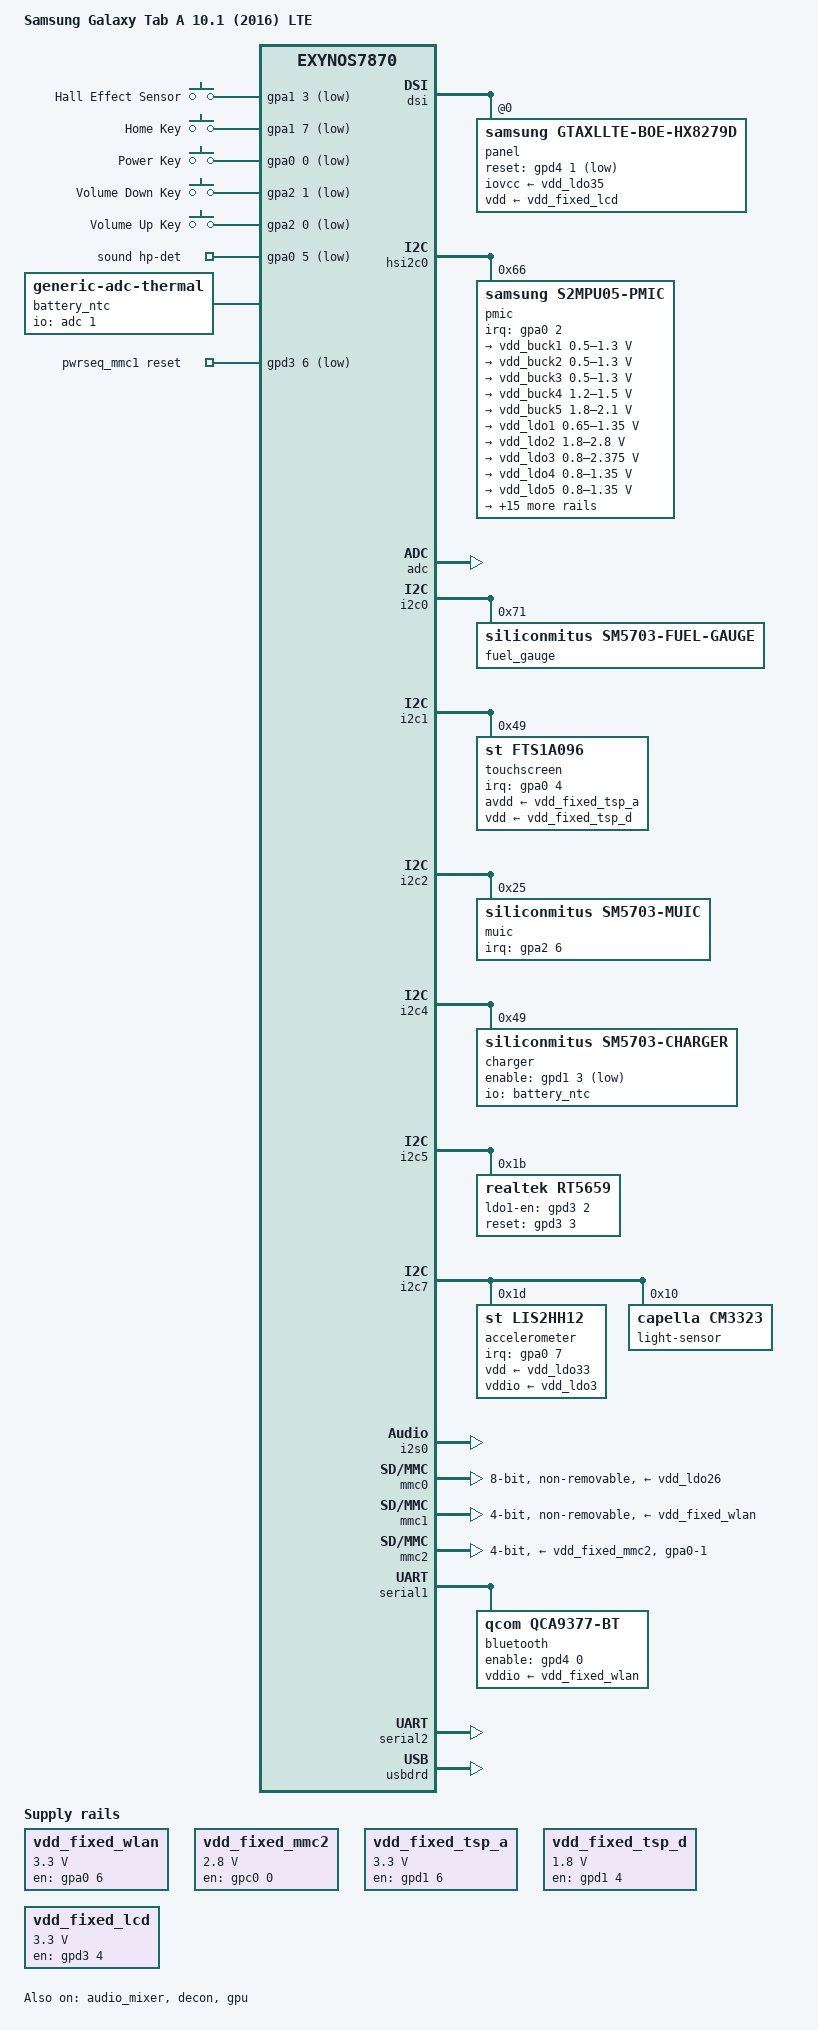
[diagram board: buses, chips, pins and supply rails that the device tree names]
// SPDX-License-Identifier: GPL-2.0
/*
 * Samsung Galaxy Tab A 10.1 (2016) LTE (gtaxllte) device tree source
 *
 * Copyright (c) 2016 Samsung Electronics Co., Ltd.
 */

/dts-v1/;
#include "exynos7870.dtsi"
#include <dt-bindings/gpio/gpio.h>
#include <dt-bindings/input/input.h>
#include <dt-bindings/interrupt-controller/irq.h>

/ {
	model = "Samsung Galaxy Tab A 10.1 (2016) LTE";
	compatible = "samsung,gtaxllte", "samsung,exynos7870";
	chassis-type = "tablet";

	aliases {
		mmc0 = &mmc0;
		mmc1 = &mmc1;
		mmc2 = &mmc2;
		serial0 = &serial0;
		serial1 = &serial1;
		serial2 = &serial2;
	};

	chosen {
		#address-cells = <2>;
		#size-cells = <1>;
		ranges;

		stdout-path = &serial2;

		framebuffer@67000000 {
			compatible = "simple-framebuffer";
			reg = <0x0 0x67000000 (1200 * 1920 * 4)>;
			width = <1200>;
			height = <1920>;
			stride = <(1200 * 4)>;
			format = "a8r8g8b8";
		};
	};

	gpio-hall-effect-sensor {
		compatible = "gpio-keys";
		label = "GPIO Hall Effect Sensor";

		pinctrl-0 = <&hall_irq>;
		pinctrl-names = "default";

		event-hall-effect-sensor {
			label = "Hall Effect Sensor";
			gpios = <&gpa1 3 GPIO_ACTIVE_LOW>;
			wakeup-source;
			linux,input-type = <EV_SW>;
			linux,code = <SW_LID>;
			linux,can-disable;
		};
	};

	gpio-keys {
		compatible = "gpio-keys";
		label = "GPIO Keys";

		pinctrl-0 = <&key_power &key_voldown &key_volup &key_home>;
		pinctrl-names = "default";

		key-home {
			label = "Home Key";
			gpios = <&gpa1 7 GPIO_ACTIVE_LOW>;
			wakeup-source;
			linux,code = <KEY_HOMEPAGE>;
		};

		key-power {
			label = "Power Key";
			gpios = <&gpa0 0 GPIO_ACTIVE_LOW>;
			wakeup-source;
			linux,code = <KEY_POWER>;
		};

		key-voldown {
			label = "Volume Down Key";
			gpios = <&gpa2 1 GPIO_ACTIVE_LOW>;
			linux,code = <KEY_VOLUMEDOWN>;
		};

		key-volup {
			label = "Volume Up Key";
			gpios = <&gpa2 0 GPIO_ACTIVE_LOW>;
			linux,code = <KEY_VOLUMEUP>;
		};
	};

	sound {
		compatible = "samsung,gtaxllte-audio";
		model = "SM-T585";

		/* Combo jack insertion, as downstream sec_jack detect-gpio */
		hp-det-gpios = <&gpa0 5 GPIO_ACTIVE_LOW>;
		pinctrl-0 = <&jack_det>;
		pinctrl-names = "default";

		audio-routing = "Headphone", "HPOL",
				"Headphone", "HPOR",
				"Speaker", "SPOL",
				"Speaker", "SPOR",
				"IN3P", "Main Mic",
				"IN3N", "Main Mic",
				"Main Mic", "MICBIAS2",
				"IN1P", "Headset Mic",
				"IN1N", "Headset Mic",
				"Headset Mic", "MICBIAS1";

		cpu {
			sound-dai = <&i2s0 0>;
		};

		/* Mixer first, codec second (the driver relies on the order) */
		codec {
			sound-dai = <&audio_mixer>, <&rt5659>;
		};
	};

	/*
	 * Battery NTC on ADC channel 1. Table from the downstream gtaxllte
	 * battery DT (temp_table_adc/_data), reversed: falling ADC values,
	 * converted from raw codes to mV (the ADC scale is vdd / 4095).
	 */
	battery_ntc: thermal-sensor-battery {
		compatible = "generic-adc-thermal";
		#thermal-sensor-cells = <0>;
		#io-channel-cells = <0>;
		io-channels = <&adc 1>;
		io-channel-names = "sensor-channel";
		temperature-lookup-table = <
			(-20000) 1561
			(-15000) 1508
			(-10000) 1444
			(-5000) 1381
			0 1303
			5000 1223
			10000 1137
			15000 1051
			20000 965
			25000 880
			30000 798
			35000 724
			40000 649
			45000 576
			50000 517
			55000 469
			60000 413
			65000 368
			70000 328
			75000 297
			80000 255
			85000 220
			90000 189>;
	};

	thermal-zones {
		battery-thermal {
			polling-delay-passive = <0>;
			polling-delay = <5000>;
			thermal-sensors = <&battery_ntc>;

			/* The charger acts on the temperature itself */
			trips {
				battery_hot: battery-hot {
					temperature = <50000>;
					hysteresis = <5000>;
					type = "hot";
				};
			};
		};
	};

	memory@40000000 {
		device_type = "memory";
		reg = <0x0 0x40000000 0x3e400000>,
		      <0x0 0x80000000 0x40000000>;
	};

	/*
	 * Both clusters run from BUCK1. The voltages are this chip's (ASV group 7,
	 * read from Lineage's mp-cpufreq volt tables); each OPP allows up to the
	 * top voltage so the two clusters' requests on the shared BUCK1 overlap
	 * and the regulator settles on the higher one.
	 */
	opp_table_cluster0: opp-table-cluster0 {
		compatible = "operating-points-v2";
		opp-shared;

		opp-342875000 {
			opp-hz = /bits/ 64 <342875000>;
			opp-microvolt = <600000 600000 1068750>;
			clock-latency-ns = <200000>;
		};

		opp-448500000 {
			opp-hz = /bits/ 64 <448500000>;
			opp-microvolt = <606250 606250 1068750>;
			clock-latency-ns = <200000>;
		};

		opp-546000000 {
			opp-hz = /bits/ 64 <546000000>;
			opp-microvolt = <625000 625000 1068750>;
			clock-latency-ns = <200000>;
		};

		opp-676000000 {
			opp-hz = /bits/ 64 <676000000>;
			opp-microvolt = <668750 668750 1068750>;
			clock-latency-ns = <200000>;
		};

		opp-756600000 {
			opp-hz = /bits/ 64 <756600000>;
			opp-microvolt = <693750 693750 1068750>;
			clock-latency-ns = <200000>;
		};

		opp-838500000 {
			opp-hz = /bits/ 64 <838500000>;
			opp-microvolt = <712500 712500 1068750>;
			clock-latency-ns = <200000>;
		};

		opp-902200000 {
			opp-hz = /bits/ 64 <902200000>;
			opp-microvolt = <737500 737500 1068750>;
			clock-latency-ns = <200000>;
		};

		opp-1014000000 {
			opp-hz = /bits/ 64 <1014000000>;
			opp-microvolt = <781250 781250 1068750>;
			clock-latency-ns = <200000>;
		};

		opp-1144000000 {
			opp-hz = /bits/ 64 <1144000000>;
			opp-microvolt = <825000 825000 1068750>;
			clock-latency-ns = <200000>;
		};

		opp-1248000000 {
			opp-hz = /bits/ 64 <1248000000>;
			opp-microvolt = <868750 868750 1068750>;
			clock-latency-ns = <200000>;
		};

		opp-1352000000 {
			opp-hz = /bits/ 64 <1352000000>;
			opp-microvolt = <906250 906250 1068750>;
			clock-latency-ns = <200000>;
		};

		opp-1482000000 {
			opp-hz = /bits/ 64 <1482000000>;
			opp-microvolt = <956250 956250 1068750>;
			clock-latency-ns = <200000>;
		};

		opp-1586000000 {
			opp-hz = /bits/ 64 <1586000000>;
			opp-microvolt = <1006250 1006250 1068750>;
			clock-latency-ns = <200000>;
		};

		opp-1690000000 {
			opp-hz = /bits/ 64 <1690000000>;
			opp-microvolt = <1068750 1068750 1068750>;
			clock-latency-ns = <200000>;
		};
	};

	opp_table_cluster1: opp-table-cluster1 {
		compatible = "operating-points-v2";
		opp-shared;

		opp-342875000 {
			opp-hz = /bits/ 64 <342875000>;
			opp-microvolt = <600000 600000 1068750>;
			clock-latency-ns = <200000>;
		};

		opp-448500000 {
			opp-hz = /bits/ 64 <448500000>;
			opp-microvolt = <606250 606250 1068750>;
			clock-latency-ns = <200000>;
		};

		opp-546000000 {
			opp-hz = /bits/ 64 <546000000>;
			opp-microvolt = <625000 625000 1068750>;
			clock-latency-ns = <200000>;
		};

		opp-676000000 {
			opp-hz = /bits/ 64 <676000000>;
			opp-microvolt = <668750 668750 1068750>;
			clock-latency-ns = <200000>;
		};

		opp-756600000 {
			opp-hz = /bits/ 64 <756600000>;
			opp-microvolt = <693750 693750 1068750>;
			clock-latency-ns = <200000>;
		};

		opp-838500000 {
			opp-hz = /bits/ 64 <838500000>;
			opp-microvolt = <712500 712500 1068750>;
			clock-latency-ns = <200000>;
		};

		opp-902200000 {
			opp-hz = /bits/ 64 <902200000>;
			opp-microvolt = <737500 737500 1068750>;
			clock-latency-ns = <200000>;
		};

		opp-1014000000 {
			opp-hz = /bits/ 64 <1014000000>;
			opp-microvolt = <781250 781250 1068750>;
			clock-latency-ns = <200000>;
		};

		opp-1144000000 {
			opp-hz = /bits/ 64 <1144000000>;
			opp-microvolt = <825000 825000 1068750>;
			clock-latency-ns = <200000>;
		};

		opp-1248000000 {
			opp-hz = /bits/ 64 <1248000000>;
			opp-microvolt = <868750 868750 1068750>;
			clock-latency-ns = <200000>;
		};

		opp-1352000000 {
			opp-hz = /bits/ 64 <1352000000>;
			opp-microvolt = <906250 906250 1068750>;
			clock-latency-ns = <200000>;
		};

		opp-1482000000 {
			opp-hz = /bits/ 64 <1482000000>;
			opp-microvolt = <956250 956250 1068750>;
			clock-latency-ns = <200000>;
		};

		opp-1586000000 {
			opp-hz = /bits/ 64 <1586000000>;
			opp-microvolt = <1006250 1006250 1068750>;
			clock-latency-ns = <200000>;
		};

		opp-1690000000 {
			opp-hz = /bits/ 64 <1690000000>;
			opp-microvolt = <1068750 1068750 1068750>;
			clock-latency-ns = <200000>;
		};
	};

	/* WLAN_EN, mmc1 */
	pwrseq_mmc1: pwrseq-mmc1 {
		compatible = "mmc-pwrseq-simple";
		reset-gpios = <&gpd3 6 GPIO_ACTIVE_LOW>;
	};

	/*
	 * 32.768 kHz sleep clock of the QCA9377 BT part. Presumably the PMIC
	 * 32 kHz output, which S-Boot leaves running and mainline does not
	 * model for the S2MPU05; the binding requires a clock phandle.
	 */
	bt_sleep_clk: clock-bt-sleep {
		compatible = "fixed-clock";
		clock-frequency = <32768>;
		#clock-cells = <0>;
	};

	/* WLAN and BT DCDC enable, mmc1: vmmc */
	vdd_fixed_wlan: regulator-fixed-wlan {
		compatible = "regulator-fixed";
		regulator-name = "cnss_dcdc_en";
		regulator-max-microvolt = <3300000>;
		regulator-min-microvolt = <3300000>;
		gpio = <&gpa0 6 GPIO_ACTIVE_HIGH>;
		enable-active-high;
		startup-delay-us = <4000>;
		/*
		 * Shared by WiFi and BT: mmc1 power cycles (ath10k hif power
		 * down/up) must not cut BT, and the WiFi chip fails to come
		 * back (-ETIME) when the DCDC drops. Downstream keeps it on too.
		 */
		regulator-always-on;
	};

	/* mmc2: vmmc */
	vdd_fixed_mmc2: regulator-fixed-mmc2 {
		compatible = "regulator-fixed";
		regulator-name = "vdd_fixed_mmc2";
		regulator-max-microvolt = <2800000>;
		regulator-min-microvolt = <2800000>;
		gpio = <&gpc0 0 GPIO_ACTIVE_HIGH>;
		enable-active-high;
	};

	/* touchscreen: avdd */
	vdd_fixed_tsp_a: regulator-fixed-tsp-a {
		compatible = "regulator-fixed";
		regulator-name = "vdd_fixed_tsp_a";
		regulator-min-microvolt = <3300000>;
		regulator-max-microvolt = <3300000>;
		gpio = <&gpd1 6 GPIO_ACTIVE_HIGH>;
		enable-active-high;
	};

	/* touchscreen: vdd */
	vdd_fixed_tsp_d: regulator-fixed-tsp-d {
		compatible = "regulator-fixed";
		regulator-name = "vdd_fixed_tsp_d";
		regulator-min-microvolt = <1800000>;
		regulator-max-microvolt = <1800000>;
		gpio = <&gpd1 4 GPIO_ACTIVE_HIGH>;
		enable-active-high;
	};

	/*
	 * panel: vdd, external buck. Always on: it keeps the bootloader
	 * framebuffer visible until the panel driver (a module) takes over.
	 */
	vdd_fixed_lcd: regulator-fixed-lcd {
		compatible = "regulator-fixed";
		regulator-name = "vdd_fixed_lcd";
		regulator-min-microvolt = <3300000>;
		regulator-max-microvolt = <3300000>;
		gpio = <&gpd3 4 GPIO_ACTIVE_HIGH>;
		enable-active-high;
		regulator-boot-on;
		regulator-always-on;
	};

	reserved-memory {
		ranges;
		#address-cells = <2>;
		#size-cells = <1>;

		/* Same location as j6lte; not yet verified on this board. */
		ramoops@46e00000 {
			compatible = "ramoops";
			reg = <0x0 0x46e00000 0x8000>;
			console-size = <0x4000>;
			pmsg-size = <0x4000>;
		};

		cont_splash_mem: framebuffer@67000000 {
			reg = <0x0 0x67000000 (1200 * 1920 * 4)>;
			iommu-addresses = <&decon 0x67000000 (1200 * 1920 * 4)>;
			no-map;
		};
	};
};

&audio_mixer {
	pinctrl-0 = <&i2s_extcodec_bus>;
	pinctrl-names = "default";

	status = "okay";
};

&cpu0 {
	cpu-supply = <&vdd_buck1>;
	operating-points-v2 = <&opp_table_cluster0>;
};

&cpu1 {
	cpu-supply = <&vdd_buck1>;
	operating-points-v2 = <&opp_table_cluster0>;
};

&cpu2 {
	cpu-supply = <&vdd_buck1>;
	operating-points-v2 = <&opp_table_cluster0>;
};

&cpu3 {
	cpu-supply = <&vdd_buck1>;
	operating-points-v2 = <&opp_table_cluster0>;
};

&cpu4 {
	cpu-supply = <&vdd_buck1>;
	operating-points-v2 = <&opp_table_cluster1>;
};

&cpu5 {
	cpu-supply = <&vdd_buck1>;
	operating-points-v2 = <&opp_table_cluster1>;
};

&cpu6 {
	cpu-supply = <&vdd_buck1>;
	operating-points-v2 = <&opp_table_cluster1>;
};

&cpu7 {
	cpu-supply = <&vdd_buck1>;
	operating-points-v2 = <&opp_table_cluster1>;
};

/*
 * Cooling states index the OPP tables from the top: state 4 = 1248 MHz,
 * state 11 = 546 MHz, the downstream clip levels at 81 and 91 C.
 */
&soc_thermal {
	cooling-maps {
		map0 {
			trip = <&soc_alert0>;
			cooling-device = <&cpu0 0 4>, <&cpu4 0 4>;
		};

		map1 {
			trip = <&soc_alert1>;
			cooling-device = <&cpu0 4 11>, <&cpu4 4 11>;
		};
	};
};

&decon {
	memory-region = <&cont_splash_mem>;

	status = "okay";
};

&dsi {
	#address-cells = <1>;
	#size-cells = <0>;

	samsung,burst-clock-frequency = <980000000>;
	samsung,esc-clock-frequency = <16000000>;
	samsung,pll-clock-frequency = <26000000>;

	status = "okay";

	panel@0 {
		compatible = "samsung,gtaxllte-boe-hx8279d";
		reg = <0>;
		reset-gpios = <&gpd4 1 GPIO_ACTIVE_LOW>;
		iovcc-supply = <&vdd_ldo35>;
		vdd-supply = <&vdd_fixed_lcd>;
	};
};

&gpu {
	status = "okay";
};

&hsi2c0 {
	#address-cells = <1>;
	#size-cells = <0>;

	status = "okay";

	pmic@66 {
		compatible = "samsung,s2mpu05-pmic";
		reg = <0x66>;
		interrupt-parent = <&gpa0>;
		interrupts = <2 IRQ_TYPE_LEVEL_LOW>;

		pinctrl-0 = <&pmic_irq>;
		pinctrl-names = "default";

		regulators {
			vdd_buck1: buck1 {
				regulator-name = "vdd_buck1";
				regulator-min-microvolt = <500000>;
				regulator-max-microvolt = <1300000>;
				regulator-ramp-delay = <12000>;
				regulator-boot-on;
				regulator-always-on;
			};

			vdd_buck2: buck2 {
				regulator-name = "vdd_buck2";
				regulator-min-microvolt = <500000>;
				regulator-max-microvolt = <1300000>;
				regulator-ramp-delay = <12000>;
				regulator-boot-on;
				regulator-always-on;
			};

			vdd_buck3: buck3 {
				regulator-name = "vdd_buck3";
				regulator-min-microvolt = <500000>;
				regulator-max-microvolt = <1300000>;
				regulator-ramp-delay = <12000>;
				regulator-boot-on;
				regulator-always-on;
			};

			vdd_buck4: buck4 {
				regulator-name = "vdd_buck4";
				regulator-min-microvolt = <1200000>;
				regulator-max-microvolt = <1500000>;
				regulator-ramp-delay = <12000>;
				regulator-boot-on;
				regulator-always-on;
			};

			vdd_buck5: buck5 {
				regulator-name = "vdd_buck5";
				regulator-min-microvolt = <1800000>;
				regulator-max-microvolt = <2100000>;
				regulator-ramp-delay = <12000>;
				regulator-boot-on;
				regulator-always-on;
			};

			vdd_ldo1: ldo1 {
				regulator-name = "vdd_ldo1";
				regulator-min-microvolt = <650000>;
				regulator-max-microvolt = <1350000>;
				regulator-ramp-delay = <12000>;
				regulator-boot-on;
				regulator-always-on;
			};

			/* mmc2: vqmmc */
			vdd_ldo2: ldo2 {
				regulator-name = "vdd_ldo2";
				regulator-min-microvolt = <1800000>;
				regulator-max-microvolt = <2800000>;
				regulator-ramp-delay = <12000>;
			};

			vdd_ldo3: ldo3 {
				regulator-name = "vdd_ldo3";
				regulator-min-microvolt = <800000>;
				regulator-max-microvolt = <2375000>;
				regulator-ramp-delay = <12000>;
				regulator-boot-on;
				regulator-always-on;
			};

			vdd_ldo4: ldo4 {
				regulator-name = "vdd_ldo4";
				regulator-min-microvolt = <800000>;
				regulator-max-microvolt = <1350000>;
				regulator-ramp-delay = <12000>;
				regulator-boot-on;
				regulator-always-on;
			};

			vdd_ldo5: ldo5 {
				regulator-name = "vdd_ldo5";
				regulator-min-microvolt = <800000>;
				regulator-max-microvolt = <1350000>;
				regulator-ramp-delay = <12000>;
				regulator-boot-on;
				regulator-always-on;
			};

			vdd_ldo6: ldo6 {
				regulator-name = "vdd_ldo6";
				regulator-min-microvolt = <800000>;
				regulator-max-microvolt = <1350000>;
				regulator-ramp-delay = <12000>;
				regulator-boot-on;
				regulator-always-on;
			};

			vdd_ldo7: ldo7 {
				regulator-name = "vdd_ldo7";
				regulator-min-microvolt = <800000>;
				regulator-max-microvolt = <2375000>;
				regulator-ramp-delay = <12000>;
				regulator-boot-on;
				regulator-always-on;
			};

			/* usbdrd: vdd33 */
			vdd_ldo8: ldo8 {
				regulator-name = "vdd_ldo8";
				regulator-min-microvolt = <1800000>;
				regulator-max-microvolt = <3375000>;
				regulator-ramp-delay = <12000>;
				regulator-boot-on;
			};

			vdd_ldo9: ldo9 {
				regulator-name = "vdd_ldo9";
				regulator-min-microvolt = <650000>;
				regulator-max-microvolt = <1350000>;
				regulator-ramp-delay = <12000>;
				regulator-boot-on;
				regulator-always-on;
			};

			vdd_ldo10: ldo10 {
				regulator-name = "vdd_ldo10";
				regulator-min-microvolt = <650000>;
				regulator-max-microvolt = <1350000>;
				regulator-ramp-delay = <12000>;
				regulator-boot-on;
				regulator-always-on;
			};

			/* codec: 1.8V */
			vdd_ldo25: ldo25 {
				regulator-name = "vdd_ldo25";
				regulator-min-microvolt = <1800000>;
				regulator-max-microvolt = <1800000>;
				regulator-always-on;
			};

			/* mmc0: vmmc */
			vdd_ldo26: ldo26 {
				regulator-name = "vdd_ldo26";
				regulator-min-microvolt = <1800000>;
				regulator-max-microvolt = <3375000>;
				regulator-ramp-delay = <12000>;
				regulator-boot-on;
			};

			/* mmc0: vqmmc */
			vdd_ldo27: ldo27 {
				regulator-name = "vdd_ldo27";
				regulator-min-microvolt = <800000>;
				regulator-max-microvolt = <2375000>;
				regulator-ramp-delay = <12000>;
				regulator-boot-on;
			};

			/* camera: AF 2.8V */
			vdd_ldo29: ldo29 {
				regulator-name = "vdd_ldo29";
				regulator-min-microvolt = <2800000>;
				regulator-max-microvolt = <2800000>;
			};

			/* camera: core 1.2V */
			vdd_ldo30: ldo30 {
				regulator-name = "vdd_ldo30";
				regulator-min-microvolt = <1200000>;
				regulator-max-microvolt = <1200000>;
			};

			vdd_ldo31: ldo31 {
				regulator-name = "vdd_ldo31";
				regulator-min-microvolt = <2800000>;
				regulator-max-microvolt = <2800000>;
				regulator-ramp-delay = <12000>;
				regulator-boot-on;
				regulator-always-on;
			};

			/* codec: 3.3V */
			vdd_ldo32: ldo32 {
				regulator-name = "vdd_ldo32";
				regulator-min-microvolt = <3300000>;
				regulator-max-microvolt = <3300000>;
				regulator-always-on;
			};

			/*
			 * sensors: 2.8V. Always on as downstream (vdd-alwayson):
			 * the cm3323 driver takes no supply.
			 */
			vdd_ldo33: ldo33 {
				regulator-name = "vdd_ldo33";
				regulator-min-microvolt = <2800000>;
				regulator-max-microvolt = <2800000>;
				regulator-boot-on;
				regulator-always-on;
			};

			/* camera: I/O 1.8V */
			vdd_ldo34: ldo34 {
				regulator-name = "vdd_ldo34";
				regulator-min-microvolt = <1800000>;
				regulator-max-microvolt = <1800000>;
			};

			/* panel: 1.8V, kept on for the bootloader framebuffer */
			vdd_ldo35: ldo35 {
				regulator-name = "vdd_ldo35";
				regulator-min-microvolt = <1800000>;
				regulator-max-microvolt = <1800000>;
				regulator-boot-on;
				regulator-always-on;
			};
		};
	};
};

/* Battery NTC on channel 1, VBAT divider on channel 3 (downstream io-channels) */
&adc {
	/* Not in the downstream DT; LDO3 (1.8 V, always-on) as on other Exynos boards */
	vdd-supply = <&vdd_ldo3>;

	status = "okay";
};

&i2c0 {
	status = "okay";

	/* Alert IRQ on gpa0-3 is not used yet */
	fuel_gauge: fuel-gauge@71 {
		compatible = "siliconmitus,sm5703-fuel-gauge";
		reg = <0x71>;
		power-supplies = <&charger>;
	};
};

&i2c1 {
	samsung,i2c-sda-delay = <100>;
	samsung,i2c-max-bus-freq = <400000>;

	status = "okay";

	touchscreen@49 {
		compatible = "st,fts1a096";
		reg = <0x49>;
		interrupt-parent = <&gpa0>;
		interrupts = <4 IRQ_TYPE_LEVEL_LOW>;

		pinctrl-0 = <&touch_irq>;
		pinctrl-names = "default";

		touchscreen-size-x = <1200>;
		touchscreen-size-y = <1920>;
		touch-key-connected;

		avdd-supply = <&vdd_fixed_tsp_a>;
		vdd-supply = <&vdd_fixed_tsp_d>;
	};
};

/*
 * SM5703 MUIC: no driver binds (EXTCON_SM5502 stays off, it would write the
 * USB switch); the charger only reads its device-type registers.
 */
&i2c2 {
	status = "okay";

	muic: extcon@25 {
		compatible = "siliconmitus,sm5703-muic";
		reg = <0x25>;
		interrupt-parent = <&gpa2>;
		interrupts = <6 IRQ_TYPE_LEVEL_LOW>;
	};
};

/* SM5703 MFD @0x49: only the charger is used (IRQ gpa2-7 polled instead) */
&i2c4 {
	status = "okay";

	charger: charger@49 {
		compatible = "siliconmitus,sm5703-charger";
		reg = <0x49>;
		enable-gpios = <&gpd1 3 GPIO_ACTIVE_LOW>;
		siliconmitus,muic = <&muic>;
		io-channels = <&battery_ntc>;
		io-channel-names = "batt-temp";
	};
};

&i2c5 {
	samsung,i2c-sda-delay = <100>;
	samsung,i2c-max-bus-freq = <400000>;

	status = "okay";

	rt5659: audio-codec@1b {
		compatible = "realtek,rt5659";
		reg = <0x1b>;
		#sound-dai-cells = <0>;

		pinctrl-0 = <&codec_gpio>;
		pinctrl-names = "default";

		/* 26 MHz from PMU CLKOUT; feeds PLL1 at 48 kHz */
		clocks = <&pmu_system_controller 0>;
		clock-names = "mclk";

		/*
		 * The driver requests "ldo1-en"/"reset", not the binding's
		 * realtek,-prefixed names. Reset is driven high (= running)
		 * and never toggled, hence ACTIVE_HIGH.
		 */
		ldo1-en-gpios = <&gpd3 2 GPIO_ACTIVE_HIGH>;
		reset-gpios = <&gpd3 3 GPIO_ACTIVE_HIGH>;

		realtek,in3-differential;
		realtek,in4-differential;
	};
};

/* I2C_SENSOR1 (downstream i2c@138D0000) */
&i2c7 {
	samsung,i2c-sda-delay = <100>;
	samsung,i2c-max-bus-freq = <400000>;

	status = "okay";

	/*
	 * Downstream k2hh: axis map x,y,z = 0,1,2 and only z negated. The
	 * driver output is in the Android frame (x right, y up, z out of the
	 * screen, panel is portrait-native), the same frame the mount matrix
	 * maps to. To be verified on hardware, see docs/sensors-test-plan-2026-10-27.md.
	 */
	accelerometer@1d {
		compatible = "st,lis2hh12";
		reg = <0x1d>;
		interrupt-parent = <&gpa0>;
		interrupts = <7 IRQ_TYPE_EDGE_RISING>;

		pinctrl-0 = <&acc_int>;
		pinctrl-names = "default";

		vdd-supply = <&vdd_ldo33>;
		vddio-supply = <&vdd_ldo3>;

		mount-matrix = "1", "0", "0",
			       "0", "1", "0",
			       "0", "0", "-1";
	};

	light-sensor@10 {
		compatible = "capella,cm3323";
		reg = <0x10>;
	};
};

&i2s0 {
	status = "okay";
};

&mmc0 {
	pinctrl-0 = <&sd0_clk &sd0_cmd &sd0_rdqs &sd0_bus1 &sd0_bus4 &sd0_bus8>;
	pinctrl-names = "default";

	vmmc-supply = <&vdd_ldo26>;
	vqmmc-supply = <&vdd_ldo27>;

	bus-width = <8>;
	fifo-depth = <64>;
	non-removable;

	samsung,dw-mshc-ciu-div = <3>;
	samsung,dw-mshc-sdr-timing = <0 4>;
	samsung,dw-mshc-ddr-timing = <2 4>;

	status = "okay";
};

&mmc1 {
	pinctrl-0 = <&sd1_clk &sd1_cmd &sd1_bus1 &sd1_bus4>;
	pinctrl-names = "default";

	mmc-pwrseq = <&pwrseq_mmc1>;
	vmmc-supply = <&vdd_fixed_wlan>;

	bus-width = <4>;
	fifo-depth = <64>;
	non-removable;
	cap-sd-highspeed;
	cap-sdio-irq;

	samsung,dw-mshc-ciu-div = <3>;
	samsung,dw-mshc-sdr-timing = <0 3>;
	samsung,dw-mshc-ddr-timing = <1 2>;

	status = "okay";
};

&mmc2 {
	pinctrl-0 = <&sd2_clk &sd2_cmd &sd2_bus1 &sd2_bus4 &dwmmc2_irq>;
	pinctrl-names = "default";

	vmmc-supply = <&vdd_fixed_mmc2>;
	vqmmc-supply = <&vdd_ldo2>;

	bus-width = <4>;
	card-detect-delay = <200>;
	fifo-depth = <64>;
	samsung,dw-mshc-ciu-div = <3>;
	samsung,dw-mshc-sdr-timing = <0 3>;
	samsung,dw-mshc-ddr-timing = <1 2>;
	sd-uhs-sdr50;
	sd-uhs-sdr104;
	broken-cd;
	disable-wp;

	status = "okay";
};

&oscclk {
	clock-frequency = <26000000>;
};

&pinctrl_alive {
	acc_int: acc-int-pins {
		samsung,pins = "gpa0-7";
		samsung,pin-function = <EXYNOS_PIN_FUNC_EINT>;
		samsung,pin-pud = <EXYNOS_PIN_PULL_NONE>;
		samsung,pin-drv = <EXYNOS5433_PIN_DRV_FAST_SR1>;
	};

	dwmmc2_irq: dwmmc2-irq-pins {
		samsung,pins = "gpa0-1";
		samsung,pin-function = <EXYNOS_PIN_FUNC_EINT>;
		samsung,pin-pud = <EXYNOS_PIN_PULL_NONE>;
		samsung,pin-drv = <EXYNOS5433_PIN_DRV_FAST_SR1>;
	};

	hall_irq: hall-irq-pins {
		samsung,pins = "gpa1-3";
		samsung,pin-function = <EXYNOS_PIN_FUNC_EINT>;
		samsung,pin-pud = <EXYNOS_PIN_PULL_NONE>;
		samsung,pin-drv = <EXYNOS5433_PIN_DRV_FAST_SR1>;
	};

	jack_det: jack-det-pins {
		samsung,pins = "gpa0-5";
		samsung,pin-function = <EXYNOS_PIN_FUNC_EINT>;
		samsung,pin-pud = <EXYNOS_PIN_PULL_NONE>;
		samsung,pin-drv = <EXYNOS5433_PIN_DRV_FAST_SR1>;
	};

	key_home: key-home-pins {
		samsung,pins = "gpa1-7";
		samsung,pin-function = <EXYNOS_PIN_FUNC_EINT>;
		samsung,pin-pud = <EXYNOS_PIN_PULL_NONE>;
		samsung,pin-drv = <EXYNOS5433_PIN_DRV_FAST_SR1>;
	};

	key_power: key-power-pins {
		samsung,pins = "gpa0-0";
		samsung,pin-function = <EXYNOS_PIN_FUNC_EINT>;
		samsung,pin-pud = <EXYNOS_PIN_PULL_NONE>;
		samsung,pin-drv = <EXYNOS5433_PIN_DRV_FAST_SR1>;
	};

	key_voldown: key-voldown-pins {
		samsung,pins = "gpa2-1";
		samsung,pin-function = <EXYNOS_PIN_FUNC_EINT>;
		samsung,pin-pud = <EXYNOS_PIN_PULL_NONE>;
		samsung,pin-drv = <EXYNOS5433_PIN_DRV_FAST_SR1>;
	};

	key_volup: key-volup-pins {
		samsung,pins = "gpa2-0";
		samsung,pin-function = <EXYNOS_PIN_FUNC_EINT>;
		samsung,pin-pud = <EXYNOS_PIN_PULL_NONE>;
		samsung,pin-drv = <EXYNOS5433_PIN_DRV_FAST_SR1>;
	};

	pmic_irq: pmic-irq-pins {
		samsung,pins = "gpa0-2";
		samsung,pin-pud = <EXYNOS_PIN_PULL_UP>;
		samsung,pin-drv = <EXYNOS5433_PIN_DRV_FAST_SR4>;
	};

	touch_irq: touch-irq-pins {
		samsung,pins = "gpa0-4";
		samsung,pin-function = <EXYNOS_PIN_FUNC_EINT>;
		samsung,pin-pud = <EXYNOS_PIN_PULL_NONE>;
		samsung,pin-drv = <EXYNOS5433_PIN_DRV_FAST_SR1>;
	};
};

&pinctrl_dispaud {
	/* Mixer <-> RT5659 bus (downstream "i2s-pmic-bus-extcodec") */
	i2s_extcodec_bus: i2s-extcodec-bus-pins {
		samsung,pins = "gpz1-0", "gpz1-1", "gpz1-2", "gpz1-3";
		samsung,pin-function = <EXYNOS_PIN_FUNC_2>;
		samsung,pin-pud = <EXYNOS_PIN_PULL_UP>;
		samsung,pin-drv = <EXYNOS5433_PIN_DRV_FAST_SR3>;
	};
};

&pinctrl_top {
	bt_en: bt-en-pins {
		samsung,pins = "gpd4-0";
		samsung,pin-function = <EXYNOS_PIN_FUNC_OUTPUT>;
		samsung,pin-pud = <EXYNOS_PIN_PULL_DOWN>;
	};

	codec_gpio: codec-gpio-pins {
		samsung,pins = "gpd3-2", "gpd3-3";
		samsung,pin-function = <EXYNOS_PIN_FUNC_OUTPUT>;
		samsung,pin-pud = <EXYNOS_PIN_PULL_NONE>;
		samsung,pin-drv = <EXYNOS5433_PIN_DRV_FAST_SR1>;
	};
};

/* CLKOUT source 31 (TCXO) is the codec MCLK, as downstream "oscclk_aud" */
&pmu_system_controller {
	clocks = <&oscclk>;
	clock-names = "clkout31";
	#clock-cells = <1>;

	assigned-clocks = <&pmu_system_controller 0>;
	assigned-clock-parents = <&oscclk>;
};

/* UART_BTWIFIFM (downstream serial_0 @13810000): QCA9377 Bluetooth HCI */
&serial1 {
	uart-has-rtscts;

	status = "okay";

	bluetooth {
		compatible = "qcom,qca9377-bt";
		clocks = <&bt_sleep_clk>;
		enable-gpios = <&gpd4 0 GPIO_ACTIVE_HIGH>;
		pinctrl-0 = <&bt_en>;
		pinctrl-names = "default";
		/* cnss_dcdc_en, shared with WiFi and held on by mmc1; hci_qca does not manage it for ROME */
		vddio-supply = <&vdd_fixed_wlan>;
	};
};

&serial2 {
	status = "okay";
};

&usbdrd {
	vdd33-supply = <&vdd_ldo8>;

	status = "okay";
};
